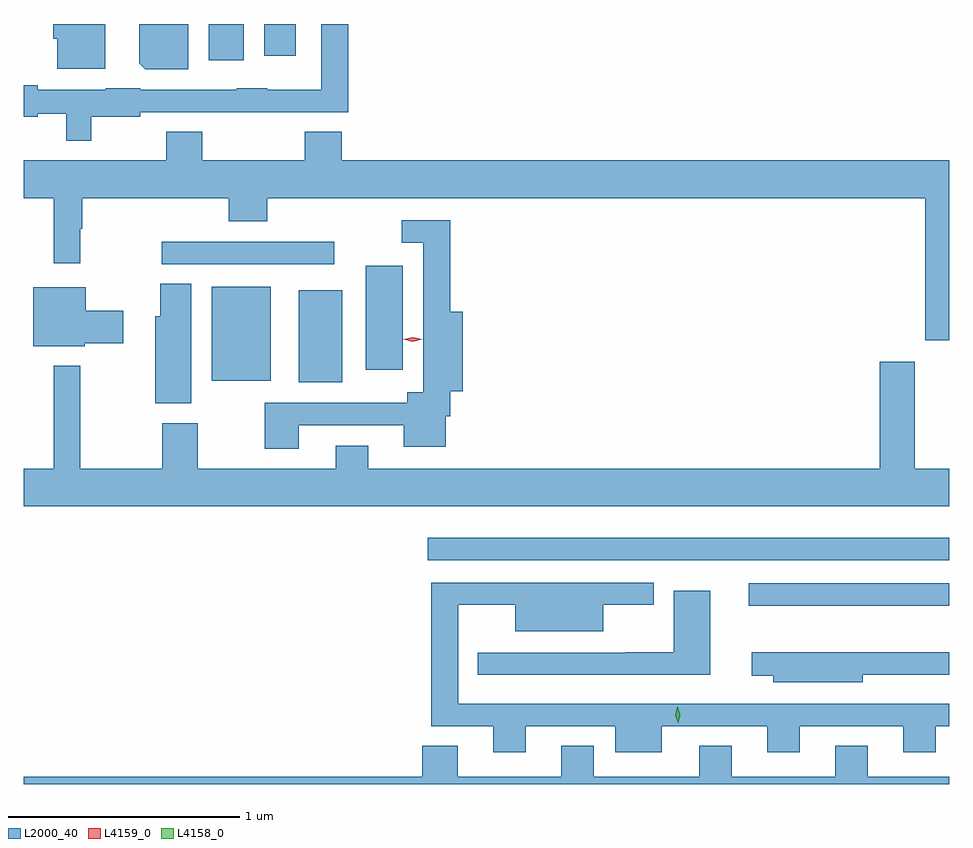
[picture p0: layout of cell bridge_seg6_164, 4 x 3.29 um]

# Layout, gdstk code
import gdstk
lib = gdstk.Library(unit=1e-6, precision=1e-09)
def R(c, l, rs):  # rectangles x0, y0, x1, y1
    for r in rs: c.add(gdstk.rectangle(r[:2], r[2:], *l))
def P(c, l, *ps):  # polygons
    for p in ps: c.add(gdstk.Polygon(p, *l))
L2000_40 = (2000, 40)
L4158_0 = (4158, 0)
L4159_0 = (4159, 0)

bridge_seg6_164 = lib.new_cell('bridge_seg6_164')
R(bridge_seg6_164, L2000_40, [(484.257,916.271,485.123,916.368), (482.868,916.467,485.123,916.564), (482.312,917.237,482.5,917.635), (481.934,917.243,482.191,917.65), (482.6,917.292,482.761,917.74), (481.719,917.748,482.464,917.844), (481.922,918.63,482.074,918.786), (482.162,918.648,482.299,918.786)])
P(bridge_seg6_164, L2000_40, [(481.414,918.386),(481.626,918.386),(481.626,918.405),(482.043,918.405),(482.043,918.404),(482.275,918.404),(482.275,918.405),(482.525,918.405),(482.525,918.786),(482.409,918.786),(482.409,918.502),(482.175,918.502),(482.175,918.508),(482.043,918.508),(482.043,918.501),(481.626,918.501),(481.626,918.508),(481.476,918.508),(481.476,918.502),(481.182,918.502),(481.182,918.521),(481.123,918.521),(481.123,918.386),(481.182,918.386),(481.182,918.398),(481.305,918.398),(481.305,918.281),(481.414,918.281)],
  [(481.474,918.786),(481.25,918.786),(481.25,918.723),(481.268,918.723),(481.268,918.593),(481.474,918.593)],
  [(481.834,918.786),(481.622,918.786),(481.622,918.616),(481.648,918.59),(481.834,918.59)],
  [(485.123,918.196),(482.498,918.196),(482.498,918.32),(482.338,918.32),(482.338,918.196),(481.893,918.196),(481.893,918.32),(481.738,918.32),(481.738,918.196),(481.123,918.196),(481.123,918.032),(481.253,918.032),(481.253,917.751),(481.367,917.751),(481.367,917.9),(481.375,917.9),(481.375,918.032),(482.009,918.032),(482.009,917.933),(482.174,917.933),(482.174,918.032),(485.021,918.032),(485.021,917.418),(485.123,917.418)],
  [(482.311,917.052),(482.765,917.052),(482.765,916.958),(482.947,916.958),(482.947,917.09),(482.966,917.09),(482.966,917.198),(483.02,917.198),(483.02,917.542),(482.966,917.542),(482.966,917.937),(482.757,917.937),(482.757,917.841),(482.85,917.841),(482.85,917.438),(482.849,917.438),(482.849,917.194),(482.78,917.194),(482.78,917.148),(482.164,917.148),(482.164,916.95),(482.311,916.95)],
  [(481.846,917.663),(481.712,917.663),(481.712,917.523),(481.691,917.523),(481.691,917.147),(481.846,917.147)],
  [(481.386,917.405),(481.552,917.405),(481.552,917.547),(481.39,917.547),(481.39,917.647),(481.163,917.647),(481.163,917.393),(481.386,917.393)],
  [(485.123,916.864),(484.975,916.864),(484.975,917.326),(484.823,917.326),(484.823,916.864),(482.611,916.864),(482.611,916.963),(482.471,916.963),(482.471,916.864),(481.875,916.864),(481.875,917.059),(481.72,917.059),(481.72,916.864),(481.367,916.864),(481.367,917.308),(481.253,917.308),(481.253,916.864),(481.123,916.864),(481.123,916.7),(485.123,916.7)],
  [(483.292,915.75),(483.68,915.75),(483.68,915.638),(483.88,915.638),(483.88,915.75),(484.337,915.75),(484.337,915.638),(484.477,915.638),(484.477,915.75),(484.925,915.75),(484.925,915.638),(485.065,915.638),(485.065,915.75),(485.123,915.75),(485.123,915.846),(483,915.846),(483,916.274),(483.248,916.274),(483.248,916.16),(483.628,916.16),(483.628,916.274),(483.847,916.274),(483.847,916.371),(482.884,916.371),(482.884,915.75),(483.152,915.75),(483.152,915.638),(483.292,915.638)],
  [(484.09,916.336),(483.932,916.336),(483.932,916.07),(483.724,916.07),(483.724,916.068),(483.085,916.068),(483.085,915.973),(483.196,915.973),(483.196,915.972),(484.09,915.972)],
  [(484.75,915.972),(485.123,915.972),(485.123,916.07),(484.646,916.07),(484.646,916.069),(484.269,916.069),(484.269,915.968),(484.362,915.968),(484.362,915.941),(484.75,915.941)],
  [(485.123,915.532),(484.771,915.532),(484.771,915.665),(484.631,915.665),(484.631,915.532),(484.183,915.532),(484.183,915.665),(484.043,915.665),(484.043,915.532),(483.586,915.532),(483.586,915.665),(483.446,915.665),(483.446,915.532),(482.998,915.532),(482.998,915.665),(482.846,915.665),(482.846,915.532),(481.123,915.532),(481.123,915.5),(485.123,915.5)])
P(bridge_seg6_164, L4158_0, [(483.951,915.762),(483.951,915.762),(483.94,915.798),(483.948,915.834),(483.949,915.834),(483.949,915.834),(483.96,915.798),(483.951,915.762)])
P(bridge_seg6_164, L4159_0, [(482.804,917.412),(482.764,917.422),(482.764,917.422),(482.764,917.423),(482.804,917.432),(482.845,917.422),(482.845,917.422),(482.845,917.422)])

lib.write_gds('bridge_seg6_164.gds')
